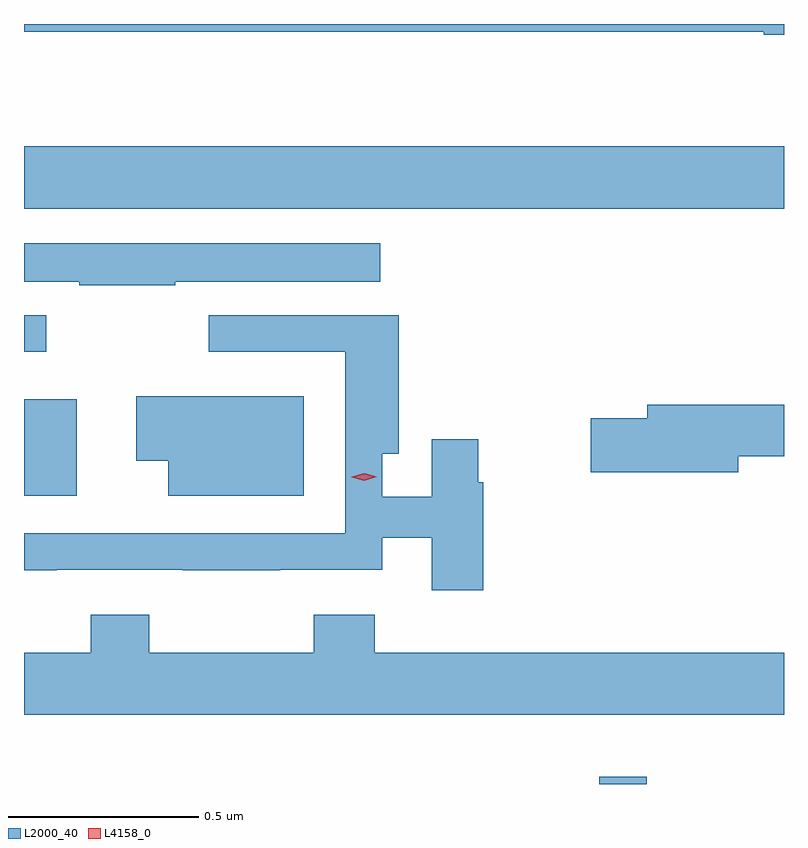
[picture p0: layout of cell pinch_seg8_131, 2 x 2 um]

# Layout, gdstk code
import gdstk
lib = gdstk.Library(unit=1e-6, precision=1e-09)
def R(c, l, rs):  # rectangles x0, y0, x1, y1
    for r in rs: c.add(gdstk.rectangle(r[:2], r[2:], *l))
def P(c, l, *ps):  # polygons
    for p in ps: c.add(gdstk.Polygon(p, *l))
L2000_40 = (2000, 40)
L4158_0 = (4158, 0)

pinch_seg8_131 = lib.new_cell('pinch_seg8_131')
R(pinch_seg8_131, L2000_40, [(843.569,1150.95,843.694,1150.969), (842.055,1151.708,842.194,1151.962), (842.055,1152.087,842.113,1152.183), (842.055,1152.464,844.055,1152.628)])
P(pinch_seg8_131, L2000_40, [(844.055,1152.95),(842.055,1152.95),(842.055,1152.93),(844.002,1152.93),(844.002,1152.922),(844.055,1152.922)],
  [(842.453,1152.272),(842.992,1152.272),(842.992,1152.373),(842.055,1152.373),(842.055,1152.272),(842.2,1152.272),(842.2,1152.262),(842.453,1152.262)],
  [(843.263,1151.744),(843.25,1151.744),(843.25,1151.857),(843.128,1151.857),(843.128,1151.706),(842.998,1151.706),(842.998,1151.819),(843.041,1151.819),(843.041,1152.183),(842.541,1152.183),(842.541,1152.087),(842.901,1152.087),(842.901,1151.61),(842.055,1151.61),(842.055,1151.513),(842.141,1151.513),(842.141,1151.514),(842.473,1151.514),(842.473,1151.513),(842.729,1151.513),(842.729,1151.514),(842.998,1151.514),(842.998,1151.598),(843.128,1151.598),(843.128,1151.46),(843.263,1151.46)],
  [(842.791,1151.971),(842.351,1151.971),(842.351,1151.801),(842.435,1151.801),(842.435,1151.708),(842.791,1151.708)],
  [(843.934,1151.812),(844.055,1151.812),(844.055,1151.948),(843.695,1151.948),(843.695,1151.912),(843.546,1151.912),(843.546,1151.77),(843.934,1151.77)],
  [(844.055,1151.296),(842.978,1151.296),(842.978,1151.395),(842.818,1151.395),(842.818,1151.296),(842.385,1151.296),(842.385,1151.395),(842.23,1151.395),(842.23,1151.296),(842.055,1151.296),(842.055,1151.132),(844.055,1151.132)])
P(pinch_seg8_131, L4158_0, [(842.951,1151.748),(842.918,1151.757),(842.918,1151.757),(842.918,1151.758),(842.95,1151.768),(842.983,1151.759),(842.983,1151.759),(842.983,1151.758)])

lib.write_gds('pinch_seg8_131.gds')
